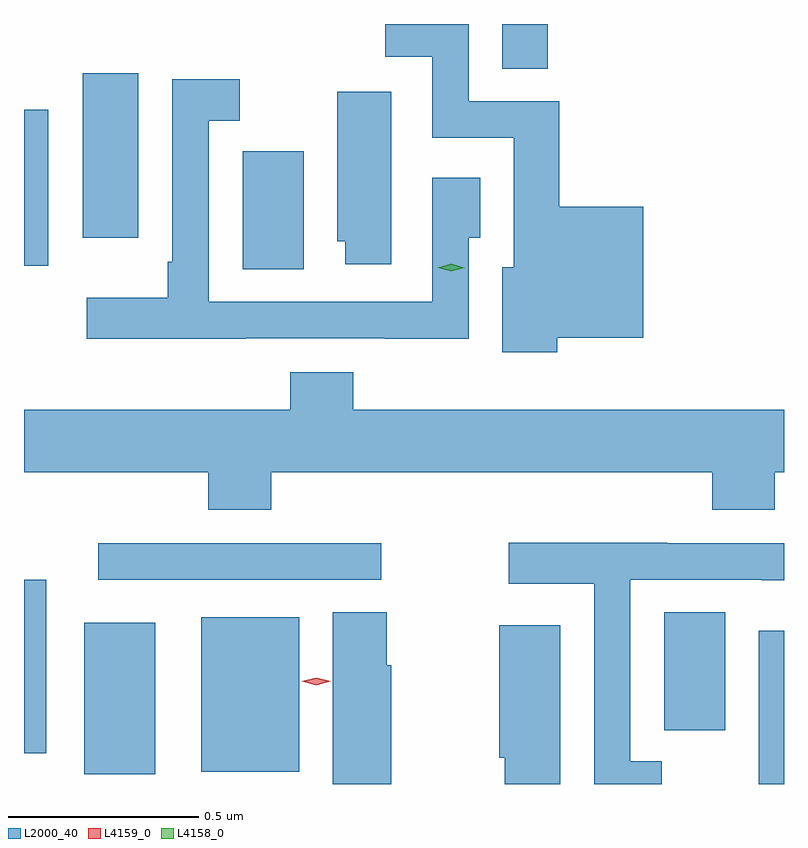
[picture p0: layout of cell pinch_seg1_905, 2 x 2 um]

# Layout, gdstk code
import gdstk
lib = gdstk.Library(unit=1e-6, precision=1e-09)
def R(c, l, rs):  # rectangles x0, y0, x1, y1
    for r in rs: c.add(gdstk.rectangle(r[:2], r[2:], *l))
def P(c, l, *ps):  # polygons
    for p in ps: c.add(gdstk.Polygon(p, *l))
L2000_40 = (2000, 40)
L4158_0 = (4158, 0)
L4159_0 = (4159, 0)

pinch_seg1_905 = lib.new_cell('pinch_seg1_905')
R(pinch_seg1_905, L2000_40, [(509.906,520.275,509.972,520.678), (508.13,520.301,508.318,520.699), (508.439,520.307,508.696,520.714), (507.972,520.356,508.03,520.813), (509.657,520.416,509.818,520.727), (508.167,520.812,508.912,520.908), (508.547,521.629,508.708,521.94), (507.972,521.639,508.036,522.049), (508.127,521.712,508.273,522.145), (509.231,522.157,509.35,522.275)])
P(pinch_seg1_905, L2000_40, [(509.375,521.45),(509.602,521.45),(509.602,521.794),(509.38,521.794),(509.38,522.072),(509.142,522.072),(509.142,522.275),(508.923,522.275),(508.923,522.189),(509.046,522.189),(509.046,521.976),(509.261,521.976),(509.261,521.635),(509.231,521.635),(509.231,521.411),(509.375,521.411)],
  [(508.555,521.448),(508.921,521.448),(508.921,521.447),(509.142,521.447),(509.142,521.713),(509.173,521.713),(509.173,521.871),(509.046,521.871),(509.046,521.544),(508.458,521.544),(508.458,522.021),(508.54,522.021),(508.54,522.13),(508.362,522.13),(508.362,521.65),(508.35,521.65),(508.35,521.554),(508.137,521.554),(508.137,521.447),(508.555,521.447)],
  [(508.939,522.097),(508.796,522.097),(508.796,521.703),(508.817,521.703),(508.817,521.643),(508.939,521.643)],
  [(508.622,521.096),(509.783,521.096),(509.783,520.997),(509.948,520.997),(509.948,521.096),(509.972,521.096),(509.972,521.26),(508.838,521.26),(508.838,521.359),(508.673,521.359),(508.673,521.26),(507.972,521.26),(507.972,521.096),(508.457,521.096),(508.457,520.997),(508.622,520.997)],
  [(509.65,520.335),(509.568,520.335),(509.568,520.812),(509.914,520.812),(509.914,520.811),(509.972,520.811),(509.972,520.908),(509.665,520.908),(509.665,520.91),(509.247,520.91),(509.247,520.802),(509.472,520.802),(509.472,520.275),(509.65,520.275)],
  [(508.939,520.587),(508.926,520.587),(508.926,520.727),(508.784,520.727),(508.784,520.275),(508.939,520.275)],
  [(509.383,520.693),(509.222,520.693),(509.222,520.344),(509.237,520.344),(509.237,520.275),(509.383,520.275)])
P(pinch_seg1_905, L4158_0, [(509.096,521.624),(509.061,521.634),(509.061,521.634),(509.061,521.634),(509.096,521.644),(509.131,521.634),(509.132,521.634),(509.131,521.634)])
P(pinch_seg1_905, L4159_0, [(508.741,520.535),(508.703,520.545),(508.703,520.545),(508.703,520.546),(508.741,520.555),(508.779,520.546),(508.779,520.545),(508.779,520.545)])

lib.write_gds('pinch_seg1_905.gds')
